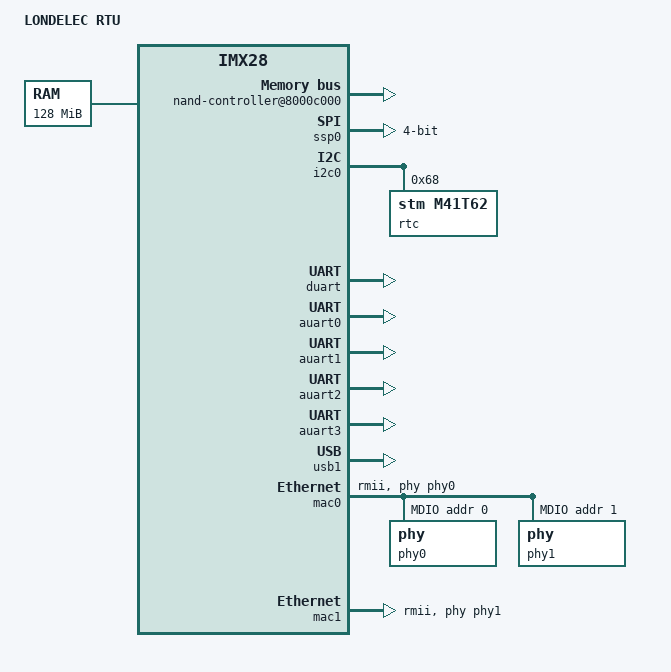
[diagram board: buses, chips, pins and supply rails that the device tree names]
// SPDX-License-Identifier: GPL-2.0+
//
// Copyright 2015 Londelec UK Ltd.


/dts-v1/;
#include "imx28.dtsi"

/ {
	model = "LONDELEC RTU";
	compatible = "denx,m28evk", "fsl,imx28";

	memory@40000000 {
		device_type = "memory";
		reg = <0x40000000 0x08000000>;
	};

	apb@80000000 {
		apbh@80000000 {
			nand-controller@8000c000 {
				pinctrl-names = "default";
				pinctrl-0 = <&gpmi_pins_a &gpmi_status_cfg>;
				status = "okay";

				partition@0 {
					label = "bootloader";
					reg = <0x00000000 0x00300000>;
					read-only;
				};

				partition@1 {
					label = "environment";
					reg = <0x00300000 0x00080000>;
				};

				partition@2 {
					label = "redundant-environment";
					reg = <0x00380000 0x00080000>;
				};

				partition@3 {
					label = "kernel";
					reg = <0x00400000 0x00400000>;
				};

				partition@4 {
					label = "filesystem";
					reg = <0x00800000 0x0f800000>;
				};
			};

			ssp0: spi@80010000 {
				compatible = "fsl,imx28-mmc";
				pinctrl-names = "default";
				pinctrl-0 = <&mmc0_4bit_pins_a
					     &mmc0_cd_cfg
					     &mmc0_sck_cfg>;
				bus-width = <4>;
				/*
				 * Write protect gpio and power control is disabled.
				 * wp-gpios = <&gpio3 10 0>;
				 * vmmc-supply = <&reg_vddio_sd0>;
				 */
				status = "okay";
			};

			pinctrl@80018000 {
				pinctrl-names = "default";
				pinctrl-0 = <&hog_pins_a>;

				hog_pins_a: hog@0 {
					reg = <0>;
					fsl,pinmux-ids = <
						/* MX28_PAD_PWM3__GPIO_3_28 */	/* Ethernet PHY reset */
						MX28_PAD_PWM4__GPIO_3_29		/* MU609 power gate */
						MX28_PAD_AUART0_RTS__GPIO_3_3		/* COM1 RTS */
						MX28_PAD_AUART1_RTS__GPIO_3_7		/* COM2 RTS */

						MX28_PAD_LCD_RD_E__GPIO_1_24		/* COM1 RS232 enable */
						MX28_PAD_LCD_WR_RWN__GPIO_1_25	/* COM1 RS485_P[12] RX enable */
						MX28_PAD_LCD_CS__GPIO_1_27		/* COM1 RS485_P[12] TX enable */
						MX28_PAD_LCD_VSYNC__GPIO_1_28		/* COM1 RS485_P[34] RX enable */
						MX28_PAD_LCD_HSYNC__GPIO_1_29		/* COM1 RS485_P[34] TX enable */

						MX28_PAD_LCD_D07__GPIO_1_7		/* COM2 RS232 enable */
						MX28_PAD_LCD_D08__GPIO_1_8		/* COM2 RS485_P[12] RX enable */
						MX28_PAD_LCD_D09__GPIO_1_9		/* COM2 RS485_P[12] TX enable */
						MX28_PAD_LCD_D10__GPIO_1_10		/* COM2 RS485_P[34] RX enable */
						MX28_PAD_LCD_D11__GPIO_1_11		/* COM2 RS485_P[34] TX enable */

						MX28_PAD_LCD_D12__GPIO_1_12		/* COM3 RS232 enable */
						MX28_PAD_LCD_D13__GPIO_1_13		/* COM3 RS485_P[12] RX enable */
						MX28_PAD_LCD_D14__GPIO_1_14		/* COM3 RS485_P[12] TX enable */
						MX28_PAD_LCD_D15__GPIO_1_15		/* COM3 RS485_P[34] RX enable */
						MX28_PAD_LCD_D16__GPIO_1_16		/* COM3 RS485_P[34] TX enable */
					>;
					fsl,drive-strength = <MXS_DRIVE_4mA>;
					fsl,voltage = <MXS_VOLTAGE_HIGH>;
					fsl,pull-up = <MXS_PULL_DISABLE>;
				};

				led_pin_gpio2_26: led_gpio2_26@0 {
					reg = <0>;
					fsl,pinmux-ids = <
						MX28_PAD_SSP3_MISO__GPIO_2_26		/* Heartbeat LED */
					>;
					fsl,drive-strength = <MXS_DRIVE_4mA>;
					fsl,voltage = <MXS_VOLTAGE_HIGH>;
					fsl,pull-up = <MXS_PULL_DISABLE>;
				};
			};
		};

		apbx@80040000 {
			i2c0: i2c@80058000 {
				pinctrl-names = "default";
				pinctrl-0 = <&i2c0_pins_a>;
				status = "okay";

				rtc: rtc@68 {
					compatible = "stm,m41t62";
					reg = <0x68>;
				};
			};

			duart: serial@80074000 {
				pinctrl-names = "default";
				pinctrl-0 = <&duart_pins_a>;
				status = "okay";
			};

			usbphy1: usbphy@8007e000 {
				status = "okay";
			};

			auart0: serial@8006a000 {
				pinctrl-names = "default";
				pinctrl-0 = <&auart0_2pins_a>;
				status = "okay";
			};

			auart1: serial@8006c000 {
				pinctrl-names = "default";
				pinctrl-0 = <&auart1_2pins_a>;
				status = "okay";
			};

			auart2: serial@8006e000 {
				pinctrl-names = "default";
				pinctrl-0 = <&auart2_2pins_b>;
				status = "okay";
			};

			auart3: serial@80070000 {
				pinctrl-names = "default";
				pinctrl-0 = <&auart3_2pins_b>;
				status = "okay";
			};
		};
	};

	ahb@80080000 {
		usb1: usb@80090000 {
			/*
			 * USB power and gpios are not used.
			 * vbus-supply = <&reg_usb1_vbus>;
			 * pinctrl-names = "default";
			 * pinctrl-0 = <&usb1_pins_a>;
			 */
			status = "okay";
		};

		mac0: ethernet@800f0000 {
			phy-mode = "rmii";
			pinctrl-names = "default";
			pinctrl-0 = <&mac0_pins_a>;
			clocks = <&clks 57>, <&clks 57>;
			clock-names = "ipg", "ahb";
			/* 
			 * Tested and can be used
			 * phy-reset-gpios = <&gpio3 28 GPIO_ACTIVE_LOW>;
			 * phy-reset-duration = <100>;
			 */
			phy-handle = <&phy0>;
			status = "okay";

			/* LAN8720 PHYs on the MDIO bus are assigned to MACs 28/01/2021 */
			mdio@800f0000 {
				#address-cells = <1>;
				#size-cells = <0>;

				phy0: phy@0 {
					reg = <0>;
					smsc,disable-energy-detect = <1>;
				};

				phy1: phy@1 {
					reg = <1>;
					smsc,disable-energy-detect = <1>;
				};
			};
		};

		mac1: ethernet@800f4000 {
			phy-mode = "rmii";
			pinctrl-names = "default";
			pinctrl-0 = <&mac1_pins_a>;
			phy-handle = <&phy1>;
			status = "okay";
		};
	};
};
